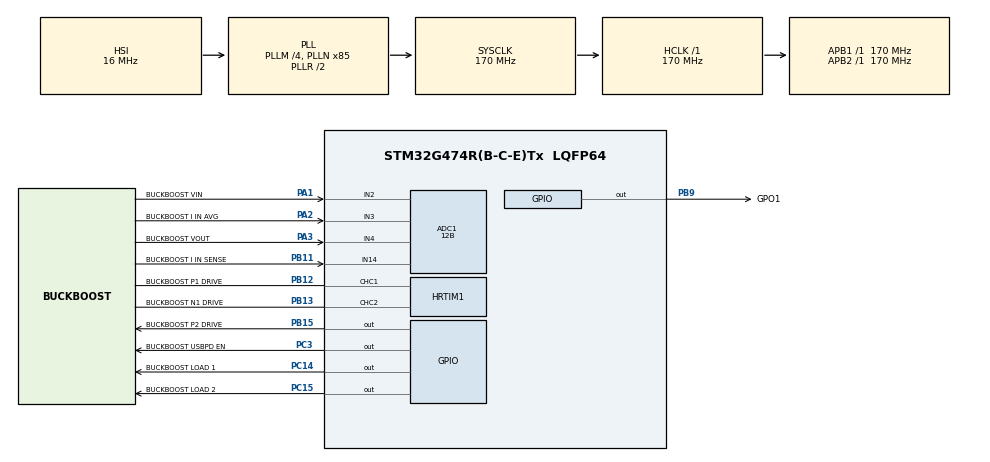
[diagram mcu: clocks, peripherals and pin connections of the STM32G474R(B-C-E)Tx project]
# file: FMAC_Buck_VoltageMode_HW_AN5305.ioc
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ADC1.Channel-0\#ChannelRegularConversion=ADC_CHANNEL_4
ADC1.Channel-IN14=ADC_CHANNEL_14
ADC1.Channel-IN2=ADC_CHANNEL_2
ADC1.Channel-IN3=ADC_CHANNEL_3
ADC1.Channel-IN4=ADC_CHANNEL_4
ADC1.ClockPrescaler=ADC_CLOCK_SYNC_PCLK_DIV4
ADC1.ContinuousConvMode=DISABLE
ADC1.DMAContinuousRequests=ENABLE
ADC1.DataAlign=ADC_DATAALIGN_LEFT
ADC1.DiscontinuousConvMode=DISABLE
ADC1.EOCSelection=ADC_EOC_SINGLE_CONV
ADC1.EnableAnalogWatchDog1=false
ADC1.EnableAnalogWatchDog2=false
ADC1.EnableAnalogWatchDog3=false
ADC1.EnableInjectedConversion=DISABLE
ADC1.EnableRegularConversion=ENABLE
ADC1.ExternalTrigConv=ADC_EXTERNALTRIG_HRTIM_TRG1
ADC1.ExternalTrigConvEdge=ADC_EXTERNALTRIGCONVEDGE_RISING
ADC1.GainCompensation=0
ADC1.LowPowerAutoWait=DISABLE
ADC1.Mode=ADC_MODE_INDEPENDENT
ADC1.NbrOfConversion=1
ADC1.Offset-0\#ChannelRegularConversion=REF
ADC1.OffsetNumber-0\#ChannelRegularConversion=ADC_OFFSET_1
ADC1.OffsetSaturation-0\#ChannelRegularConversion=DISABLE
ADC1.OffsetSign-0\#ChannelRegularConversion=ADC_OFFSET_SIGN_NEGATIVE
ADC1.Overrun=ADC_OVR_DATA_OVERWRITTEN
ADC1.OversamplingMode=DISABLE
ADC1.Rank-0\#ChannelRegularConversion=1
ADC1.Resolution=ADC_RESOLUTION_12B
ADC1.SamplingTime-0\#ChannelRegularConversion=ADC_SAMPLETIME_2CYCLES_5
ADC1.ScanConvMode=ADC_SCAN_DISABLE
ADC1.master=1
Dma.ADC1.0.Direction=DMA_PERIPH_TO_MEMORY
Dma.ADC1.0.EventEnable=DISABLE
Dma.ADC1.0.Instance=DMA1_Channel1
Dma.ADC1.0.MemDataAlignment=DMA_MDATAALIGN_WORD
Dma.ADC1.0.MemInc=DMA_MINC_DISABLE
Dma.ADC1.0.Mode=DMA_CIRCULAR
Dma.ADC1.0.PeriphDataAlignment=DMA_PDATAALIGN_WORD
Dma.ADC1.0.PeriphInc=DMA_PINC_DISABLE
Dma.ADC1.0.Polarity=HAL_DMAMUX_REQ_GEN_RISING
Dma.ADC1.0.Priority=DMA_PRIORITY_LOW
Dma.ADC1.0.RequestNumber=1
Dma.ADC1.0.SignalID=HAL_DMAMUX1_REQ_GEN_EXTI2
Dma.ADC1.0.SyncEnable=DISABLE
Dma.ADC1.0.SyncPolarity=HAL_DMAMUX_SYNC_NO_EVENT
Dma.ADC1.0.SyncRequestNumber=1
Dma.ADC1.0.SyncSignalID=NONE
Dma.Request0=ADC1
HRTIM1.ADCTrigger1_Source1=HRTIM_ADCTRIGGEREVENT13_TIMERC_CMP3
HRTIM1.ADCTrigger_Id1=HRTIM_ADCTRIGGER_1
HRTIM1.ADCTrigger_Id10=__NULL
HRTIM1.ADCTrigger_Id2=__NULL
HRTIM1.ADCTrigger_Id3=__NULL
HRTIM1.ADCTrigger_Id4=__NULL
HRTIM1.ADCTrigger_Id5=__NULL
HRTIM1.ADCTrigger_Id6=__NULL
HRTIM1.ADCTrigger_Id7=__NULL
HRTIM1.ADCTrigger_Id8=__NULL
HRTIM1.ADCTrigger_Id9=__NULL
HRTIM1.AutoDelayedMode2-Output_TC1TC2=HRTIM_AUTODELAYEDMODE_REGULAR
HRTIM1.BurstDMAconfig-Output_TC1TC2=__NULL
HRTIM1.BurstMode-Output_TC1TC2=HRTIM_TIMERBURSTMODE_MAINTAINCLOCK
HRTIM1.BurstModeEntryDelayed1-Output_TC1TC2=HRTIM_OUTPUTBURSTMODEENTRY_REGULAR
HRTIM1.BurstModeEntryDelayed2-Output_TC1TC2=HRTIM_OUTPUTBURSTMODEENTRY_REGULAR
HRTIM1.CaptureUnit1-Output_TC1TC2=__NULL
HRTIM1.CaptureUnit2-Output_TC1TC2=__NULL
HRTIM1.ChopperModeEnable1-Output_TC1TC2=HRTIM_OUTPUTCHOPPERMODE_DISABLED
HRTIM1.ChopperModeEnable2-Output_TC1TC2=HRTIM_OUTPUTCHOPPERMODE_DISABLED
HRTIM1.ChopperModeconfig-Output_TC1TC2=__NULL
HRTIM1.CompareUnit1-Output_TC1TC2=HRTIM_COMPAREUNIT_1
HRTIM1.CompareUnit2-Output_TC1TC2=HRTIM_COMPAREUNIT_2
HRTIM1.CompareUnit3-Output_TC1TC2=HRTIM_COMPAREUNIT_3
HRTIM1.CompareUnit4-Output_TC1TC2=__NULL
HRTIM1.CompareValue1-Output_TC1TC2=0
HRTIM1.CompareValue2-Output_TC1TC2=24480
HRTIM1.CompareValue3-Output_TC1TC2=50
HRTIM1.Configuration_TC=Waveform
HRTIM1.DACSynchro-Output_TC1TC2=HRTIM_DACSYNC_NONE
HRTIM1.DeadTimeInsertion-Output_TC1TC2=HRTIM_TIMDEADTIMEINSERTION_ENABLED
HRTIM1.Deadtimeconfig-Output_TC1TC2=HRTIM_TIMERINDEX_TIMER_C
HRTIM1.DelayedProtectionMode-Output_TC1TC2=HRTIM_TIMER_A_B_C_DELAYEDPROTECTION_DISABLED
HRTIM1.DualChannelDacEnableFake_TC-Output_TC1TC2=HRTIM_TIMER_DCDE_DISABLED
HRTIM1.Enable=HRTIM_BURSTMODECTL_DISABLED
HRTIM1.Event1-Output_TC1TC2=__NULL
HRTIM1.Event10-Output_TC1TC2=__NULL
HRTIM1.Event2-Output_TC1TC2=__NULL
HRTIM1.Event3-Output_TC1TC2=__NULL
HRTIM1.Event4-Output_TC1TC2=__NULL
HRTIM1.Event5-Output_TC1TC2=__NULL
HRTIM1.Event6-Output_TC1TC2=__NULL
HRTIM1.Event7-Output_TC1TC2=__NULL
HRTIM1.Event8-Output_TC1TC2=__NULL
HRTIM1.Event9-Output_TC1TC2=__NULL
HRTIM1.EventEnableA-Output_TC1TC2=__NULL
HRTIM1.Event_EEV1=__NULL
HRTIM1.Event_EEV10=__NULL
HRTIM1.Event_EEV2=__NULL
HRTIM1.Event_EEV3=__NULL
HRTIM1.Event_EEV4=__NULL
HRTIM1.Event_EEV5=__NULL
HRTIM1.Event_EEV6=__NULL
HRTIM1.Event_EEV7=__NULL
HRTIM1.Event_EEV8=__NULL
HRTIM1.Event_EEV9=__NULL
HRTIM1.FallingLock-Output_TC1TC2=HRTIM_TIMDEADTIME_FALLINGLOCK_WRITE
HRTIM1.FallingSign-Output_TC1TC2=HRTIM_TIMDEADTIME_FALLINGSIGN_POSITIVE
HRTIM1.FallingSignLock-Output_TC1TC2=HRTIM_TIMDEADTIME_FALLINGSIGNLOCK_WRITE
HRTIM1.FallingValue-Output_TC1TC2=300
HRTIM1.FaultLevel1-Output_TC1TC2=HRTIM_OUTPUTFAULTLEVEL_INACTIVE
HRTIM1.FaultLevel2-Output_TC1TC2=HRTIM_OUTPUTFAULTLEVEL_INACTIVE
HRTIM1.FaultLock-Output_TC1TC2=HRTIM_TIMFAULTLOCK_READWRITE
HRTIM1.Fault_Line1=__NULL
HRTIM1.Fault_Line2=__NULL
HRTIM1.Fault_Line3=__NULL
HRTIM1.Fault_Line4=__NULL
HRTIM1.Fault_Line5=__NULL
HRTIM1.Fault_Line6=__NULL
HRTIM1.GreaterCMP1_TC=HRTIM_TIMERGTCMP1_EQUAL
HRTIM1.GreaterCMP3_TC=HRTIM_TIMERGTCMP3_EQUAL
HRTIM1.HRTIMInterruptResquests1=HRTIM_IT_NONE
HRTIM1.HRTIMInterruptResquests2=HRTIM_IT_NONE
HRTIM1.HRTIMInterruptResquests3=HRTIM_IT_NONE
HRTIM1.HRTIMInterruptResquests4=HRTIM_IT_NONE
HRTIM1.HRTIMInterruptResquests5=HRTIM_IT_NONE
HRTIM1.HRTIMInterruptResquests6=HRTIM_IT_NONE
HRTIM1.HRTIMInterruptResquests7=HRTIM_IT_NONE
HRTIM1.HRTIMInterruptResquests8=HRTIM_IT_NONE
HRTIM1.HRTIMInterruptResquests9=HRTIM_IT_NONE
HRTIM1.IdleLevel1-Output_TC1TC2=HRTIM_OUTPUTIDLELEVEL_INACTIVE
HRTIM1.IdleLevel2-Output_TC1TC2=HRTIM_OUTPUTIDLELEVEL_INACTIVE
HRTIM1.IdleMode1-Output_TC1TC2=HRTIM_OUTPUTIDLEMODE_NONE
HRTIM1.IdleMode2-Output_TC1TC2=HRTIM_OUTPUTIDLEMODE_NONE
HRTIM1.InterleavedMode-Output_TC1TC2=HRTIM_INTERLEAVED_MODE_DISABLED
HRTIM1.ModeTimeBase-Output_TC1TC2=HRTIM_MODE_CONTINUOUS
HRTIM1.NumberADCTriggerSource1=1
HRTIM1.NumberDMARequests_TC=0
HRTIM1.NumberFaultEnable-Output_TC1TC2=0
HRTIM1.NumberInterruptRequests-Output_TC1TC2=0
HRTIM1.NumberResetSource1-Output_TC1TC2=2
HRTIM1.NumberResetSource2_TC=0
HRTIM1.NumberResetTrigger-Output_TC1TC2=0
HRTIM1.NumberSetSource1-Output_TC1TC2=1
HRTIM1.NumberSetSource2_TC=0
HRTIM1.NumberUpdateTrigger-Output_TC1TC2=0
HRTIM1.ORingUpdateSource_ADCTrigger1=HRTIM_ADCTRIGGERUPDATE_TIMER_C
HRTIM1.Output1-Output_TC1TC2=HRTIM_OUTPUT_TC1
HRTIM1.Output2-Output_TC1TC2=HRTIM_OUTPUT_TC2
HRTIM1.Periode_TC=27200
HRTIM1.Polarity1-Output_TC1TC2=HRTIM_OUTPUTPOLARITY_HIGH
HRTIM1.Polarity2-Output_TC1TC2=HRTIM_OUTPUTPOLARITY_HIGH
HRTIM1.PreloadEnable-Output_TC1TC2=HRTIM_PRELOAD_DISABLED
HRTIM1.PrescalerDead-Output_TC1TC2=HRTIM_TIMDEADTIME_PRESCALERRATIO_MUL8
HRTIM1.PushPull-Output_TC1TC2=HRTIM_TIMPUSHPULLMODE_DISABLED
HRTIM1.ReSyncUpdate-Output_TC1TC2=HRTIM_TIMERESYNC_UPDATE_UNCONDITIONAL
HRTIM1.RepetitionUpdate-Output_TC1TC2=HRTIM_UPDATEONREPETITION_DISABLED
HRTIM1.ResetOnSync-Output_TC1TC2=HRTIM_SYNCRESET_DISABLED
HRTIM1.ResetOutput1_Source1-Output_TC1TC2=HRTIM_OUTPUTRESET_TIMCMP1
HRTIM1.ResetOutput1_Source2-Output_TC1TC2=HRTIM_OUTPUTRESET_TIMCMP2
HRTIM1.ResetUpdate-Output_TC1TC2=HRTIM_TIMUPDATEONRESET_DISABLED
HRTIM1.RisingLock-Output_TC1TC2=HRTIM_TIMDEADTIME_RISINGLOCK_WRITE
HRTIM1.RisingSign-Output_TC1TC2=HRTIM_TIMDEADTIME_RISINGSIGN_POSITIVE
HRTIM1.RisingSignLock-Output_TC1TC2=HRTIM_TIMDEADTIME_RISINGSIGNLOCK_WRITE
HRTIM1.RisingValue-Output_TC1TC2=75
HRTIM1.SetOutput1_Source1-Output_TC1TC2=HRTIM_OUTPUTSET_TIMPER
HRTIM1.StartOnSync-Output_TC1TC2=HRTIM_SYNCSTART_DISABLED
HRTIM1.SwapC=__NULL
HRTIM1.SyncOptions=HRTIM_SYNCOPTION_NONE
HRTIM1.TimerIdx-Output_TC1TC2=HRTIM_TIMERINDEX_TIMER_C
HRTIM1.TrigHalf_TC=HRTIM_TIMERTRIGHALF_DISABLED
HRTIM1.UpDownMode-Output_TC1TC2=HRTIM_TIMERUPDOWNMODE_UP
HRTIM1.UpdateGating-Output_TC1TC2=HRTIM_UPDATEGATING_INDEPENDENT
Mcu.Family=STM32G4
Mcu.Name=STM32G474R(B-C-E)Tx
Mcu.Package=LQFP64
Mcu.UserConstants=REF,778;DUTY_TICKS_MAX,24480
NVIC.DMA1_Channel1_IRQn=true\:0\:0\:false\:false\:false\:false\:false\:true
NVIC.FMAC_IRQn=true\:3\:0\:true\:false\:true\:true\:false\:true
NVIC.PriorityGroup=NVIC_PRIORITYGROUP_4
PA1.GPIO_Label=BUCKBOOST VIN
PA1.Mode=IN2-Single-Ended
PA1.Signal=ADC1_IN2
PA2.GPIO_Label=BUCKBOOST I IN AVG
PA2.Mode=IN3-Single-Ended
PA2.Signal=ADC1_IN3
PA3.GPIO_Label=BUCKBOOST VOUT
PA3.Mode=IN4-Single-Ended
PA3.Signal=ADC1_IN4
PB11.GPIO_Label=BUCKBOOST I IN SENSE
PB11.Mode=IN14-Single-Ended
PB11.Signal=ADC1_IN14
PB12.GPIO_Label=BUCKBOOST P1 DRIVE
PB12.Mode=Output_TC1TC2
PB12.Signal=HRTIM1_CHC1
PB13.GPIO_Label=BUCKBOOST N1 DRIVE
PB13.Mode=Output_TC1TC2
PB13.Signal=HRTIM1_CHC2
PB14.GPIO_Label=BUCKBOOST N2 DRIVE
PB14.Signal=HRTIM1_CHD1
PB15.GPIO_Label=BUCKBOOST P2 DRIVE
PB15.Signal=GPIO_Output
PB9.GPIO_Label=GPO1
PB9.GPIO_Speed=GPIO_SPEED_FREQ_VERY_HIGH
PB9.Signal=GPIO_Output
PC14-OSC32_IN.GPIO_Label=BUCKBOOST LOAD 1
PC14-OSC32_IN.Signal=GPIO_Output
PC15-OSC32_OUT.GPIO_Label=BUCKBOOST LOAD 2
PC15-OSC32_OUT.Signal=GPIO_Output
PC3.GPIO_Label=BUCKBOOST USBPD EN
PC3.PinState=GPIO_PIN_SET
PC3.Signal=GPIO_Output
ProjectManager.HeapSize=0x200
ProjectManager.StackSize=0x400
ProjectManager.TargetToolchain=EWARM V8.32
RCC.ADC12CLockSelection=RCC_ADC12CLKSOURCE_PLL
RCC.ADC12Freq_Value=68000000
RCC.ADC345Freq_Value=170000000
RCC.AHBFreq_Value=170000000
RCC.APB1Freq_Value=170000000
RCC.APB1TimFreq_Value=170000000
RCC.APB2Freq_Value=170000000
RCC.APB2TimFreq_Value=170000000
RCC.CortexFreq_Value=170000000
RCC.EXTERNAL_CLOCK_VALUE=12288000
RCC.HCLKFreq_Value=170000000
RCC.HSE_VALUE=24000000
RCC.HSI48_VALUE=48000000
RCC.HSI_VALUE=16000000
RCC.LSE_VALUE=32768
RCC.PLLM=RCC_PLLM_DIV4
RCC.PLLN=85
RCC.PLLP=RCC_PLLP_DIV5
RCC.SYSCLKFreq_VALUE=170000000
RCC.SYSCLKSource=RCC_SYSCLKSOURCE_PLLCLK
RCC.USBFreq_Value=170000000
RCC.VCOOutputFreq_Value=340000000
RTC.AsynchPrediv=127
RTC.HourFormat=RTC_HOURFORMAT_24
RTC.SynchPrediv=255
VP_FMAC_VS_FMAC.Mode=FMAC_Activate
VP_RTC_VS_RTC_Activate.Mode=RTC_Enabled
VP_SYS_VS_DBSignals.Mode=DisableDeadBatterySignals
board=custom

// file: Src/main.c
/* USER CODE BEGIN Header */
/**
  ******************************************************************************
  * @file    FMAC/FMAC_Buck_VoltageMode_HW_AN5305/Src/main.c
  * @author  MCD Application Team
  * @brief   This sample code shows how to use FMAC HAL API (FMAC instance)
  *          to implement a 3p3z controller (based on an IIR filter), using
  *          the Buck converter - Voltage mode.
  ******************************************************************************
  * @attention
  *
  * Copyright (c) 2019 STMicroelectronics.
  * All rights reserved.
  *
  * This software is licensed under terms that can be found in the LICENSE file
  * in the root directory of this software component.
  * If no LICENSE file comes with this software, it is provided AS-IS.
  *
  ******************************************************************************
  */
/* USER CODE END Header */
#include "main.h"

/* USER CODE BEGIN Includes */
#include "b_g474e_dpow1.h"
/* USER CODE END Includes */

ADC_HandleTypeDef hadc1;
DMA_HandleTypeDef hdma_adc1;

FMAC_HandleTypeDef hfmac;

HRTIM_HandleTypeDef hhrtim1;

RTC_HandleTypeDef hrtc;

/* USER CODE BEGIN PV */

/* FMAC configuration structure */
FMAC_FilterConfigTypeDef sFmacConfig;

/* Array of filter coefficients A (feedback coefficients) in Q1.15 format */
static int16_t aFilterCoeffA[COEFF_VECTOR_A_SIZE] = {A1,A2,A3};

/* Array of filter coefficients B (feed-forward taps) in Q1.15 format */
static int16_t aFilterCoeffB[COEFF_VECTOR_B_SIZE] = {-B0,-B1,-B2,-B3};

/* Array of output data to preload in Q1.15 format */
static int16_t aOutputDataToPreload[COEFF_VECTOR_A_SIZE] = {0x0000, 0x0000, 0x0000};

/* Expected number of calculated samples */
uint16_t ExpectedCalculatedOutputSize = (uint16_t) 1;
uint32_t *Fmac_Wdata;
int16_t Fmac_output;

/* Memorizes the number of active Resistors load */
uint8_t NbrActiveLoad;

/* USER CODE END PV */

void SystemClock_Config(void);
static void MX_GPIO_Init(void);
static void MX_DMA_Init(void);
static void MX_RTC_Init(void);
static void MX_ADC1_Init(void);
static void MX_HRTIM1_Init(void);
static void MX_FMAC_Init(void);

int main(void)
{
  /* USER CODE BEGIN 1 */
  /* STM32G4xx HAL library initialization:
       - Configure the Flash prefetch
       - Systick timer is configured by default as source of time base, but user
         can eventually implement his proper time base source (a general purpose
         timer for example or other time source), keeping in mind that Time base
         duration should be kept 1ms since PPP_TIMEOUT_VALUEs are defined and
         handled in milliseconds basis.
       - Set NVIC Group Priority to 4
       - Low Level Initialization
     */
  /* USER CODE END 1 */

  /* MCU Configuration--------------------------------------------------------*/

  /* Reset of all peripherals, Initializes the Flash interface and the Systick. */
  HAL_Init();

  /* Configure the system clock */
  SystemClock_Config();

  /* USER CODE BEGIN SysInit */
  /* Configure the GREEN LED */
  BSP_LED_Init(LED4);
  BSP_LED_Off(LED4);
  /* Configure the RED LED */
  BSP_LED_Init(LED5);
  BSP_LED_Off(LED5);
  /* Configure the BLUE LED */
  BSP_LED_Init(LED2);
  BSP_LED_Off(LED2);
  /* Configure the ORANGE LED */
  BSP_LED_Init(LED3);
  BSP_LED_Off(LED3);

  /* Configure the joystick */
  BSP_JOY_Init(JOY1, JOY_MODE_EXTI, JOY_ALL);
  /* USER CODE END SysInit */

  /* Initialize all configured peripherals */
  MX_GPIO_Init();
  MX_DMA_Init();
  MX_RTC_Init();
  MX_ADC1_Init();
  MX_HRTIM1_Init();
  MX_FMAC_Init();
  /* USER CODE BEGIN 2 */

  /*## Configure the FMAC peripheral ###########################################*/
  sFmacConfig.InputBaseAddress  = INPUT_BUFFER_BASE;
  sFmacConfig.InputBufferSize   = INPUT_BUFFER_SIZE;
  sFmacConfig.InputThreshold    = INPUT_THRESHOLD;
  sFmacConfig.CoeffBaseAddress  = COEFFICIENT_BUFFER_BASE;
  sFmacConfig.CoeffBufferSize   = COEFFICIENT_BUFFER_SIZE;
  sFmacConfig.OutputBaseAddress = OUTPUT_BUFFER_BASE;
  sFmacConfig.OutputBufferSize  = OUTPUT_BUFFER_SIZE;
  sFmacConfig.OutputThreshold   = OUTPUT_THRESHOLD;
  sFmacConfig.pCoeffA           = aFilterCoeffA;
  sFmacConfig.CoeffASize        = COEFF_VECTOR_A_SIZE;
  sFmacConfig.pCoeffB           = aFilterCoeffB;
  sFmacConfig.CoeffBSize        = COEFF_VECTOR_B_SIZE;
  sFmacConfig.Filter            = FMAC_FUNC_IIR_DIRECT_FORM_1;
  sFmacConfig.InputAccess       = FMAC_BUFFER_ACCESS_NONE;
  sFmacConfig.OutputAccess      = FMAC_BUFFER_ACCESS_IT;
  sFmacConfig.Clip              = FMAC_CLIP_ENABLED;
  sFmacConfig.P                 = COEFF_VECTOR_B_SIZE;
  sFmacConfig.Q                 = COEFF_VECTOR_A_SIZE;
  sFmacConfig.R                 = KC_shift;

  if (HAL_FMAC_FilterConfig(&hfmac, &sFmacConfig) != HAL_OK)
  {
    /* Configuration Error */
    Error_Handler();
  }

  /*## Preload the input and output buffers ####################################*/
  if (HAL_FMAC_FilterPreload(&hfmac, NULL, INPUT_BUFFER_SIZE,
                             aOutputDataToPreload, COEFF_VECTOR_A_SIZE) != HAL_OK)
  {
    /* Configuration Error */
    Error_Handler();
  }
  /* Start calculation of IIR filter */
   if (HAL_FMAC_FilterStart(&hfmac,&Fmac_output,&ExpectedCalculatedOutputSize) != HAL_OK)
  {
    /* Processing Error */
    Error_Handler();
  }

  /* Perform an ADC automatic self-calibration and enable ADC */
  HAL_ADCEx_Calibration_Start(&hadc1, ADC_SINGLE_ENDED);

  /* Start ADC and DMA */
  Fmac_Wdata = (uint32_t *) FMAC_WDATA;
  HAL_ADC_Start_DMA(&hadc1,Fmac_Wdata,1);

  /* Start the PWMs */
  HAL_HRTIM_WaveformOutputStart(&hhrtim1, HRTIM_OUTPUT_TC1 | HRTIM_OUTPUT_TC2);
  HAL_HRTIM_WaveformCounterStart(&hhrtim1, HRTIM_TIMERID_TIMER_C);

  /* Enable T6 for Buck only mode usage */
  HAL_GPIO_WritePin(BUCKBOOST_P2_DRIVE_GPIO_Port, BUCKBOOST_P2_DRIVE_Pin, GPIO_PIN_SET);

  /* USER CODE END 2 */

  /* Infinite loop */
  /* USER CODE BEGIN WHILE */
  while (1)
  {
#if defined(CHECK_CPU_IDLE_LOOP)
    __HAL_GPIO_SET_PIN(GPO1_GPIO_Port, GPO1_Pin);
    __HAL_GPIO_CLR_PIN(GPO1_GPIO_Port, GPO1_Pin);
#else
    BSP_LED_Toggle(LED2);
    HAL_Delay(500);
#endif /* CHECK_CPU_IDLE_LOOP */
    /* USER CODE END WHILE */

  }
}

void SystemClock_Config(void)
{
  RCC_OscInitTypeDef RCC_OscInitStruct = {0};
  RCC_ClkInitTypeDef RCC_ClkInitStruct = {0};

  /** Configure the main internal regulator output voltage
  */
  HAL_PWREx_ControlVoltageScaling(PWR_REGULATOR_VOLTAGE_SCALE1_BOOST);

  /** Initializes the RCC Oscillators according to the specified parameters
  * in the RCC_OscInitTypeDef structure.
  */
  RCC_OscInitStruct.OscillatorType = RCC_OSCILLATORTYPE_HSI|RCC_OSCILLATORTYPE_LSI;
  RCC_OscInitStruct.HSIState = RCC_HSI_ON;
  RCC_OscInitStruct.HSICalibrationValue = RCC_HSICALIBRATION_DEFAULT;
  RCC_OscInitStruct.LSIState = RCC_LSI_ON;
  RCC_OscInitStruct.PLL.PLLState = RCC_PLL_ON;
  RCC_OscInitStruct.PLL.PLLSource = RCC_PLLSOURCE_HSI;
  RCC_OscInitStruct.PLL.PLLM = RCC_PLLM_DIV4;
  RCC_OscInitStruct.PLL.PLLN = 85;
  RCC_OscInitStruct.PLL.PLLP = RCC_PLLP_DIV5;
  RCC_OscInitStruct.PLL.PLLQ = RCC_PLLQ_DIV2;
  RCC_OscInitStruct.PLL.PLLR = RCC_PLLR_DIV2;
  if (HAL_RCC_OscConfig(&RCC_OscInitStruct) != HAL_OK)
  {
    Error_Handler();
  }

  /** Initializes the CPU, AHB and APB buses clocks
  */
  RCC_ClkInitStruct.ClockType = RCC_CLOCKTYPE_HCLK|RCC_CLOCKTYPE_SYSCLK
                              |RCC_CLOCKTYPE_PCLK1|RCC_CLOCKTYPE_PCLK2;
  RCC_ClkInitStruct.SYSCLKSource = RCC_SYSCLKSOURCE_PLLCLK;
  RCC_ClkInitStruct.AHBCLKDivider = RCC_SYSCLK_DIV1;
  RCC_ClkInitStruct.APB1CLKDivider = RCC_HCLK_DIV1;
  RCC_ClkInitStruct.APB2CLKDivider = RCC_HCLK_DIV1;

  if (HAL_RCC_ClockConfig(&RCC_ClkInitStruct, FLASH_LATENCY_4) != HAL_OK)
  {
    Error_Handler();
  }
}

static void MX_ADC1_Init(void)
{

  ADC_MultiModeTypeDef multimode = {0};
  ADC_ChannelConfTypeDef sConfig = {0};

  /** Common config
  */
  hadc1.Instance = ADC1;
  hadc1.Init.ClockPrescaler = ADC_CLOCK_SYNC_PCLK_DIV4;
  hadc1.Init.Resolution = ADC_RESOLUTION_12B;
  hadc1.Init.DataAlign = ADC_DATAALIGN_LEFT;
  hadc1.Init.GainCompensation = 0;
  hadc1.Init.ScanConvMode = ADC_SCAN_DISABLE;
  hadc1.Init.EOCSelection = ADC_EOC_SINGLE_CONV;
  hadc1.Init.LowPowerAutoWait = DISABLE;
  hadc1.Init.ContinuousConvMode = DISABLE;
  hadc1.Init.NbrOfConversion = 1;
  hadc1.Init.DiscontinuousConvMode = DISABLE;
  hadc1.Init.ExternalTrigConv = ADC_EXTERNALTRIG_HRTIM_TRG1;
  hadc1.Init.ExternalTrigConvEdge = ADC_EXTERNALTRIGCONVEDGE_RISING;
  hadc1.Init.DMAContinuousRequests = ENABLE;
  hadc1.Init.Overrun = ADC_OVR_DATA_OVERWRITTEN;
  hadc1.Init.OversamplingMode = DISABLE;
  if (HAL_ADC_Init(&hadc1) != HAL_OK)
  {
    Error_Handler();
  }

  /** Configure the ADC multi-mode
  */
  multimode.Mode = ADC_MODE_INDEPENDENT;
  if (HAL_ADCEx_MultiModeConfigChannel(&hadc1, &multimode) != HAL_OK)
  {
    Error_Handler();
  }

  /** Configure Regular Channel
  */
  sConfig.Channel = ADC_CHANNEL_4;
  sConfig.Rank = ADC_REGULAR_RANK_1;
  sConfig.SamplingTime = ADC_SAMPLETIME_2CYCLES_5;
  sConfig.SingleDiff = ADC_SINGLE_ENDED;
  sConfig.OffsetNumber = ADC_OFFSET_1;
  sConfig.Offset = REF;
  sConfig.OffsetSign = ADC_OFFSET_SIGN_NEGATIVE;
  sConfig.OffsetSaturation = DISABLE;
  if (HAL_ADC_ConfigChannel(&hadc1, &sConfig) != HAL_OK)
  {
    Error_Handler();
  }
  /* USER CODE BEGIN ADC1_Init 2 */
  /* CubeMX enables DMA interrupt even if not configured */
  HAL_NVIC_DisableIRQ(DMA1_Channel1_IRQn);
  /* USER CODE END ADC1_Init 2 */

}

static void MX_FMAC_Init(void)
{

  hfmac.Instance = FMAC;
  if (HAL_FMAC_Init(&hfmac) != HAL_OK)
  {
    Error_Handler();
  }

}

static void MX_HRTIM1_Init(void)
{

  HRTIM_ADCTriggerCfgTypeDef pADCTriggerCfg = {0};
  HRTIM_TimeBaseCfgTypeDef pTimeBaseCfg = {0};
  HRTIM_TimerCtlTypeDef pTimerCtl = {0};
  HRTIM_TimerCfgTypeDef pTimerCfg = {0};
  HRTIM_CompareCfgTypeDef pCompareCfg = {0};
  HRTIM_DeadTimeCfgTypeDef pDeadTimeCfg = {0};
  HRTIM_OutputCfgTypeDef pOutputCfg = {0};

  hhrtim1.Instance = HRTIM1;
  hhrtim1.Init.HRTIMInterruptResquests = HRTIM_IT_NONE;
  hhrtim1.Init.SyncOptions = HRTIM_SYNCOPTION_NONE;
  if (HAL_HRTIM_Init(&hhrtim1) != HAL_OK)
  {
    Error_Handler();
  }
  if (HAL_HRTIM_DLLCalibrationStart(&hhrtim1, HRTIM_CALIBRATIONRATE_3) != HAL_OK)
  {
    Error_Handler();
  }
  if (HAL_HRTIM_PollForDLLCalibration(&hhrtim1, 10) != HAL_OK)
  {
    Error_Handler();
  }
  pADCTriggerCfg.UpdateSource = HRTIM_ADCTRIGGERUPDATE_TIMER_C;
  pADCTriggerCfg.Trigger = HRTIM_ADCTRIGGEREVENT13_TIMERC_CMP3;
  if (HAL_HRTIM_ADCTriggerConfig(&hhrtim1, HRTIM_ADCTRIGGER_1, &pADCTriggerCfg) != HAL_OK)
  {
    Error_Handler();
  }
  if (HAL_HRTIM_ADCPostScalerConfig(&hhrtim1, HRTIM_ADCTRIGGER_1, 0x0) != HAL_OK)
  {
    Error_Handler();
  }
  pTimeBaseCfg.Period = 27200;
  pTimeBaseCfg.RepetitionCounter = 0x00;
  pTimeBaseCfg.PrescalerRatio = HRTIM_PRESCALERRATIO_MUL32;
  pTimeBaseCfg.Mode = HRTIM_MODE_CONTINUOUS;
  if (HAL_HRTIM_TimeBaseConfig(&hhrtim1, HRTIM_TIMERINDEX_TIMER_C, &pTimeBaseCfg) != HAL_OK)
  {
    Error_Handler();
  }
  pTimerCtl.UpDownMode = HRTIM_TIMERUPDOWNMODE_UP;
  pTimerCtl.TrigHalf = HRTIM_TIMERTRIGHALF_DISABLED;
  pTimerCtl.GreaterCMP3 = HRTIM_TIMERGTCMP3_EQUAL;
  pTimerCtl.GreaterCMP1 = HRTIM_TIMERGTCMP1_EQUAL;
  pTimerCtl.DualChannelDacEnable = HRTIM_TIMER_DCDE_DISABLED;
  if (HAL_HRTIM_WaveformTimerControl(&hhrtim1, HRTIM_TIMERINDEX_TIMER_C, &pTimerCtl) != HAL_OK)
  {
    Error_Handler();
  }
  pTimerCfg.InterruptRequests = HRTIM_TIM_IT_NONE;
  pTimerCfg.DMARequests = HRTIM_TIM_DMA_NONE;
  pTimerCfg.DMASrcAddress = 0x0000;
  pTimerCfg.DMADstAddress = 0x0000;
  pTimerCfg.DMASize = 0x1;
  pTimerCfg.HalfModeEnable = HRTIM_HALFMODE_DISABLED;
  pTimerCfg.InterleavedMode = HRTIM_INTERLEAVED_MODE_DISABLED;
  pTimerCfg.StartOnSync = HRTIM_SYNCSTART_DISABLED;
  pTimerCfg.ResetOnSync = HRTIM_SYNCRESET_DISABLED;
  pTimerCfg.DACSynchro = HRTIM_DACSYNC_NONE;
  pTimerCfg.PreloadEnable = HRTIM_PRELOAD_DISABLED;
  pTimerCfg.UpdateGating = HRTIM_UPDATEGATING_INDEPENDENT;
  pTimerCfg.BurstMode = HRTIM_TIMERBURSTMODE_MAINTAINCLOCK;
  pTimerCfg.RepetitionUpdate = HRTIM_UPDATEONREPETITION_DISABLED;
  pTimerCfg.PushPull = HRTIM_TIMPUSHPULLMODE_DISABLED;
  pTimerCfg.FaultEnable = HRTIM_TIMFAULTENABLE_NONE;
  pTimerCfg.FaultLock = HRTIM_TIMFAULTLOCK_READWRITE;
  pTimerCfg.DeadTimeInsertion = HRTIM_TIMDEADTIMEINSERTION_ENABLED;
  pTimerCfg.DelayedProtectionMode = HRTIM_TIMER_A_B_C_DELAYEDPROTECTION_DISABLED;
  pTimerCfg.UpdateTrigger = HRTIM_TIMUPDATETRIGGER_NONE;
  pTimerCfg.ResetTrigger = HRTIM_TIMRESETTRIGGER_NONE;
  pTimerCfg.ResetUpdate = HRTIM_TIMUPDATEONRESET_DISABLED;
  pTimerCfg.ReSyncUpdate = HRTIM_TIMERESYNC_UPDATE_UNCONDITIONAL;
  if (HAL_HRTIM_WaveformTimerConfig(&hhrtim1, HRTIM_TIMERINDEX_TIMER_C, &pTimerCfg) != HAL_OK)
  {
    Error_Handler();
  }
  pCompareCfg.CompareValue = 0;
  if (HAL_HRTIM_WaveformCompareConfig(&hhrtim1, HRTIM_TIMERINDEX_TIMER_C, HRTIM_COMPAREUNIT_1, &pCompareCfg) != HAL_OK)
  {
    Error_Handler();
  }
  pCompareCfg.CompareValue = 24480;
  pCompareCfg.AutoDelayedMode = HRTIM_AUTODELAYEDMODE_REGULAR;
  pCompareCfg.AutoDelayedTimeout = 0x0000;

  if (HAL_HRTIM_WaveformCompareConfig(&hhrtim1, HRTIM_TIMERINDEX_TIMER_C, HRTIM_COMPAREUNIT_2, &pCompareCfg) != HAL_OK)
  {
    Error_Handler();
  }
  pCompareCfg.CompareValue = 50;
  if (HAL_HRTIM_WaveformCompareConfig(&hhrtim1, HRTIM_TIMERINDEX_TIMER_C, HRTIM_COMPAREUNIT_3, &pCompareCfg) != HAL_OK)
  {
    Error_Handler();
  }
  pDeadTimeCfg.Prescaler = HRTIM_TIMDEADTIME_PRESCALERRATIO_MUL8;
  pDeadTimeCfg.RisingValue = 75;
  pDeadTimeCfg.RisingSign = HRTIM_TIMDEADTIME_RISINGSIGN_POSITIVE;
  pDeadTimeCfg.RisingLock = HRTIM_TIMDEADTIME_RISINGLOCK_WRITE;
  pDeadTimeCfg.RisingSignLock = HRTIM_TIMDEADTIME_RISINGSIGNLOCK_WRITE;
  pDeadTimeCfg.FallingValue = 300;
  pDeadTimeCfg.FallingSign = HRTIM_TIMDEADTIME_FALLINGSIGN_POSITIVE;
  pDeadTimeCfg.FallingLock = HRTIM_TIMDEADTIME_FALLINGLOCK_WRITE;
  pDeadTimeCfg.FallingSignLock = HRTIM_TIMDEADTIME_FALLINGSIGNLOCK_WRITE;
  if (HAL_HRTIM_DeadTimeConfig(&hhrtim1, HRTIM_TIMERINDEX_TIMER_C, &pDeadTimeCfg) != HAL_OK)
  {
    Error_Handler();
  }
  pOutputCfg.Polarity = HRTIM_OUTPUTPOLARITY_HIGH;
  pOutputCfg.SetSource = HRTIM_OUTPUTSET_TIMPER;
  pOutputCfg.ResetSource = HRTIM_OUTPUTRESET_TIMCMP1|HRTIM_OUTPUTRESET_TIMCMP2;
  pOutputCfg.IdleMode = HRTIM_OUTPUTIDLEMODE_NONE;
  pOutputCfg.IdleLevel = HRTIM_OUTPUTIDLELEVEL_INACTIVE;
  pOutputCfg.FaultLevel = HRTIM_OUTPUTFAULTLEVEL_INACTIVE;
  pOutputCfg.ChopperModeEnable = HRTIM_OUTPUTCHOPPERMODE_DISABLED;
  pOutputCfg.BurstModeEntryDelayed = HRTIM_OUTPUTBURSTMODEENTRY_REGULAR;
  if (HAL_HRTIM_WaveformOutputConfig(&hhrtim1, HRTIM_TIMERINDEX_TIMER_C, HRTIM_OUTPUT_TC1, &pOutputCfg) != HAL_OK)
  {
    Error_Handler();
  }
  pOutputCfg.SetSource = HRTIM_OUTPUTSET_NONE;
  pOutputCfg.ResetSource = HRTIM_OUTPUTRESET_NONE;
  if (HAL_HRTIM_WaveformOutputConfig(&hhrtim1, HRTIM_TIMERINDEX_TIMER_C, HRTIM_OUTPUT_TC2, &pOutputCfg) != HAL_OK)
  {
    Error_Handler();
  }
  HAL_HRTIM_MspPostInit(&hhrtim1);

}

static void MX_RTC_Init(void)
{

  /** Initialize RTC Only
  */
  hrtc.Instance = RTC;
  hrtc.Init.HourFormat = RTC_HOURFORMAT_24;
  hrtc.Init.AsynchPrediv = 127;
  hrtc.Init.SynchPrediv = 255;
  hrtc.Init.OutPut = RTC_OUTPUT_DISABLE;
  hrtc.Init.OutPutRemap = RTC_OUTPUT_REMAP_NONE;
  hrtc.Init.OutPutPolarity = RTC_OUTPUT_POLARITY_HIGH;
  hrtc.Init.OutPutType = RTC_OUTPUT_TYPE_OPENDRAIN;
  hrtc.Init.OutPutPullUp = RTC_OUTPUT_PULLUP_NONE;
  if (HAL_RTC_Init(&hrtc) != HAL_OK)
  {
    Error_Handler();
  }

}

static void MX_DMA_Init(void)
{

  /* DMA controller clock enable */
  __HAL_RCC_DMAMUX1_CLK_ENABLE();
  __HAL_RCC_DMA1_CLK_ENABLE();

  /* DMA interrupt init */
  /* DMA1_Channel1_IRQn interrupt configuration */
  HAL_NVIC_SetPriority(DMA1_Channel1_IRQn, 0, 0);
  HAL_NVIC_EnableIRQ(DMA1_Channel1_IRQn);

}

static void MX_GPIO_Init(void)
{
  GPIO_InitTypeDef GPIO_InitStruct = {0};

  /* GPIO Ports Clock Enable */
  __HAL_RCC_GPIOC_CLK_ENABLE();
  __HAL_RCC_GPIOA_CLK_ENABLE();
  __HAL_RCC_GPIOB_CLK_ENABLE();

  /*Configure GPIO pin Output Level */
  HAL_GPIO_WritePin(GPIOC, BUCKBOOST_LOAD_1_Pin|BUCKBOOST_LOAD_2_Pin, GPIO_PIN_RESET);

  /*Configure GPIO pin Output Level */
  HAL_GPIO_WritePin(BUCKBOOST_USBPD_EN_GPIO_Port, BUCKBOOST_USBPD_EN_Pin, GPIO_PIN_SET);

  /*Configure GPIO pin Output Level */
  HAL_GPIO_WritePin(GPIOB, BUCKBOOST_P2_DRIVE_Pin|GPO1_Pin, GPIO_PIN_RESET);

  /*Configure GPIO pins : BUCKBOOST_LOAD_1_Pin BUCKBOOST_LOAD_2_Pin BUCKBOOST_USBPD_EN_Pin */
  GPIO_InitStruct.Pin = BUCKBOOST_LOAD_1_Pin|BUCKBOOST_LOAD_2_Pin|BUCKBOOST_USBPD_EN_Pin;
  GPIO_InitStruct.Mode = GPIO_MODE_OUTPUT_PP;
  GPIO_InitStruct.Pull = GPIO_NOPULL;
  GPIO_InitStruct.Speed = GPIO_SPEED_FREQ_LOW;
  HAL_GPIO_Init(GPIOC, &GPIO_InitStruct);

  /*Configure GPIO pin : BUCKBOOST_P2_DRIVE_Pin */
  GPIO_InitStruct.Pin = BUCKBOOST_P2_DRIVE_Pin;
  GPIO_InitStruct.Mode = GPIO_MODE_OUTPUT_PP;
  GPIO_InitStruct.Pull = GPIO_NOPULL;
  GPIO_InitStruct.Speed = GPIO_SPEED_FREQ_LOW;
  HAL_GPIO_Init(BUCKBOOST_P2_DRIVE_GPIO_Port, &GPIO_InitStruct);

  /*Configure GPIO pin : GPO1_Pin */
  GPIO_InitStruct.Pin = GPO1_Pin;
  GPIO_InitStruct.Mode = GPIO_MODE_OUTPUT_PP;
  GPIO_InitStruct.Pull = GPIO_NOPULL;
  GPIO_InitStruct.Speed = GPIO_SPEED_FREQ_VERY_HIGH;
  HAL_GPIO_Init(GPO1_GPIO_Port, &GPIO_InitStruct);

}

/* USER CODE BEGIN 4 */

/**
  * @brief  EXTI line detection callback.
  * @param  GPIO_Pin: Specifies the port pin connected to corresponding EXTI line.
  * @retval None
  */
void HAL_GPIO_EXTI_Callback(uint16_t GPIO_Pin)
{
  /* JOYSTICK RIGHT increases the activated Resistors load */
  if (GPIO_Pin == RIGHT_JOY_PIN)
  {
    NbrActiveLoad += 1;
    /* Clamp the value to Min if over-pressed by user */
    if (NbrActiveLoad >= 2)
    {
      NbrActiveLoad = 2;

      /* Enable Load_1 & Load_2 */
      HAL_GPIO_WritePin(BUCKBOOST_LOAD_2_GPIO_Port, BUCKBOOST_LOAD_2_Pin, GPIO_PIN_SET);
      BSP_LED_On(LED3);
    }
  }

  /* JOYSTICK LEFT decreases the activated Resistors load */
  if (GPIO_Pin == LEFT_JOY_PIN)
  {
    NbrActiveLoad -= 1;
    /* Clamp the value to Min if over-pressed by user */
    if (NbrActiveLoad <= 0)
    {
      NbrActiveLoad = 0;

      /* Disable Load_1 & Load_2 */
      HAL_GPIO_WritePin(BUCKBOOST_LOAD_1_GPIO_Port, BUCKBOOST_LOAD_1_Pin, GPIO_PIN_RESET);
      BSP_LED_Off(LED4);
      HAL_GPIO_WritePin(BUCKBOOST_LOAD_2_GPIO_Port, BUCKBOOST_LOAD_2_Pin, GPIO_PIN_RESET);
      BSP_LED_Off(LED3);
    }
  }

  /* Manage the LEDs and the Resistors when half-load */
  if (NbrActiveLoad == 1)
  {
    /* Enable Load_1 */
    HAL_GPIO_WritePin(BUCKBOOST_LOAD_1_GPIO_Port, BUCKBOOST_LOAD_1_Pin, GPIO_PIN_SET);
    BSP_LED_On(LED4);
    /* Disable Load_2 */
    HAL_GPIO_WritePin(BUCKBOOST_LOAD_2_GPIO_Port, BUCKBOOST_LOAD_2_Pin, GPIO_PIN_RESET);
    BSP_LED_Off(LED3);
  }
}
/* USER CODE END 4 */

void Error_Handler(void)
{
  /* USER CODE BEGIN Error_Handler_Debug */
  /* User can add his own implementation to report the HAL error return state */
  while (1)
  {
    /* Red LED5 is blinking */
    BSP_LED_Toggle(LED5);
    HAL_Delay(1000);
  }
  /* USER CODE END Error_Handler_Debug */
}
